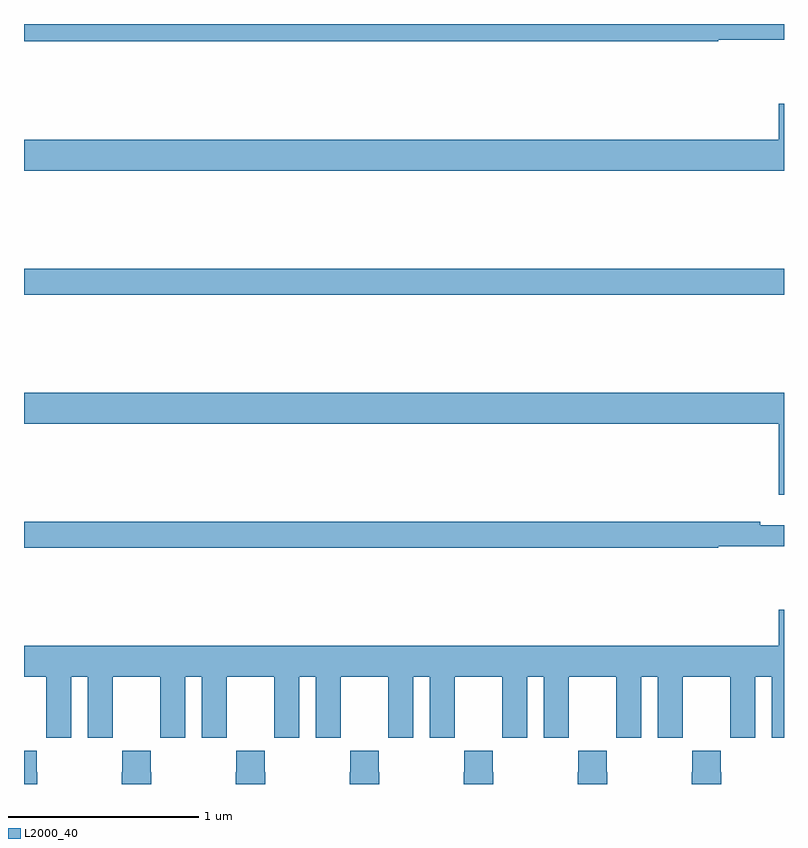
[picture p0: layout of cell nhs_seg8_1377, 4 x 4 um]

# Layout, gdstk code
import gdstk
lib = gdstk.Library(unit=1e-6, precision=1e-09)
def R(c, l, rs):  # rectangles x0, y0, x1, y1
    for r in rs: c.add(gdstk.rectangle(r[:2], r[2:], *l))
def P(c, l, *ps):  # polygons
    for p in ps: c.add(gdstk.Polygon(p, *l))
L2000_40 = (2000, 40)

nhs_seg8_1377 = lib.new_cell('nhs_seg8_1377')
R(nhs_seg8_1377, L2000_40, [(197,1154.476,201,1154.612)])
P(nhs_seg8_1377, L2000_40, [(200.655,1155.816),(201,1155.816),(201,1155.9),(197,1155.9),(197,1155.808),(200.655,1155.808)],
  [(201,1155.481),(200.972,1155.481),(200.972,1155.292),(197,1155.292),(197,1155.128),(201,1155.128)],
  [(201,1153.96),(197,1153.96),(197,1153.796),(200.972,1153.796),(200.972,1153.422),(201,1153.422)],
  [(200.655,1153.152),(201,1153.152),(201,1153.261),(200.876,1153.261),(200.876,1153.28),(197,1153.28),(197,1153.144),(200.655,1153.144)],
  [(197.248,1152.464),(197.336,1152.464),(197.336,1152.144),(197.466,1152.144),(197.466,1152.256),(197.467,1152.256),(197.467,1152.464),(197.717,1152.464),(197.717,1152.256),(197.718,1152.256),(197.718,1152.144),(197.848,1152.144),(197.848,1152.464),(197.936,1152.464),(197.936,1152.144),(198.066,1152.144),(198.066,1152.256),(198.067,1152.256),(198.067,1152.464),(198.317,1152.464),(198.317,1152.256),(198.318,1152.256),(198.318,1152.144),(198.448,1152.144),(198.448,1152.464),(198.536,1152.464),(198.536,1152.144),(198.666,1152.144),(198.666,1152.256),(198.667,1152.256),(198.667,1152.464),(198.917,1152.464),(198.917,1152.256),(198.918,1152.256),(198.918,1152.144),(199.048,1152.144),(199.048,1152.464),(199.136,1152.464),(199.136,1152.144),(199.266,1152.144),(199.266,1152.256),(199.267,1152.256),(199.267,1152.464),(199.517,1152.464),(199.517,1152.256),(199.518,1152.256),(199.518,1152.144),(199.648,1152.144),(199.648,1152.464),(199.736,1152.464),(199.736,1152.144),(199.866,1152.144),(199.866,1152.256),(199.867,1152.256),(199.867,1152.464),(200.117,1152.464),(200.117,1152.256),(200.118,1152.256),(200.118,1152.144),(200.248,1152.144),(200.248,1152.464),(200.336,1152.464),(200.336,1152.144),(200.466,1152.144),(200.466,1152.256),(200.467,1152.256),(200.467,1152.464),(200.717,1152.464),(200.717,1152.256),(200.718,1152.256),(200.718,1152.144),(200.848,1152.144),(200.848,1152.464),(200.936,1152.464),(200.936,1152.144),(201,1152.144),(201,1152.817),(200.972,1152.817),(200.972,1152.628),(197,1152.628),(197,1152.464),(197.117,1152.464),(197.117,1152.256),(197.118,1152.256),(197.118,1152.144),(197.248,1152.144)],
  [(200.67,1151.963),(200.667,1151.963),(200.667,1152.076),(200.517,1152.076),(200.517,1151.963),(200.515,1151.963),(200.515,1151.9),(200.67,1151.9)],
  [(200.07,1151.963),(200.067,1151.963),(200.067,1152.076),(199.917,1152.076),(199.917,1151.963),(199.915,1151.963),(199.915,1151.9),(200.07,1151.9)],
  [(199.47,1151.963),(199.467,1151.963),(199.467,1152.076),(199.317,1152.076),(199.317,1151.963),(199.315,1151.963),(199.315,1151.9),(199.47,1151.9)],
  [(198.87,1151.963),(198.867,1151.963),(198.867,1152.076),(198.717,1152.076),(198.717,1151.963),(198.715,1151.963),(198.715,1151.9),(198.87,1151.9)],
  [(198.27,1151.963),(198.267,1151.963),(198.267,1152.076),(198.117,1152.076),(198.117,1151.963),(198.115,1151.963),(198.115,1151.9),(198.27,1151.9)],
  [(197.67,1151.963),(197.667,1151.963),(197.667,1152.076),(197.517,1152.076),(197.517,1151.963),(197.515,1151.963),(197.515,1151.9),(197.67,1151.9)],
  [(197.07,1151.963),(197.067,1151.963),(197.067,1152.076),(197,1152.076),(197,1151.9),(197.07,1151.9)])

lib.write_gds('nhs_seg8_1377.gds')
